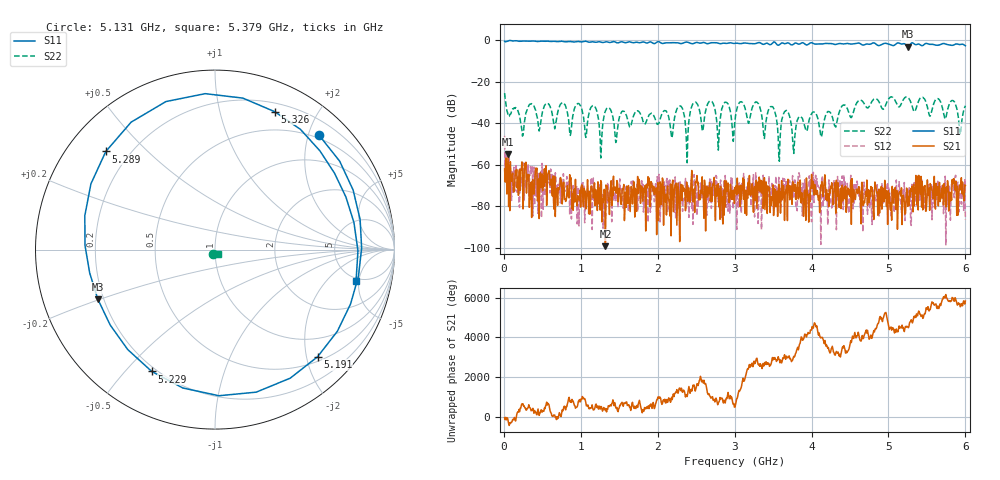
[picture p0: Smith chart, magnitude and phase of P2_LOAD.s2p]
!Keysight Technologies,N5245B,MY52501319,Z.13.01.242
!Date: Monday, February 16, 2026 14:44:21
!Correction: S11(Off)
!S21(Off)
!S12(Off)
!S22(Off)
!S2P File: Measurements: S11, S21, S12, S22:
# Hz S  RI  R 50
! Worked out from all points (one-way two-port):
!   801 points, 10 MHz to 6 GHz, reference 50 ohm
!   highest |S21| = -54.91 dB at 54.92 MHz (marker M1); lowest = -99.4 dB at 1.32 GHz (marker M2)
!   lowest |S11| = -3.0 dB at 5.251 GHz (marker M3), VSWR 5.87, Z = 8.86 - j9.87 ohm
!   |S11| at or under -10 dB: nowhere
!   |S22| runs from -59.1 to -25.5 dB; largest |S21 - S12| = 0.0057
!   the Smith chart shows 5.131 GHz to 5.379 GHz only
!   S11 on the Smith chart (normalised r, x): 5.131 GHz: 0.44, +2.17; 5.191 GHz: 0.59, -2.21; 5.229 GHz: 0.18, -0.59; 5.289 GHz: 0.11, +0.38; 5.326 GHz: 0.29, +1.48; 5.379 GHz: 4.55, -4.58
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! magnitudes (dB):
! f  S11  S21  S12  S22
! 10 MHz  -0.4  -62.2  -46.1  -25.5
! 54.92 MHz  -0.4  -54.9  -68.0  -36.1
! 1.013 GHz  -0.8  -69.8  -69.0  -33.2
! 1.26 GHz  -0.8  -67.7  -75.4  -56.8
! 1.32 GHz  -0.8  -99.4  -92.3  -34.1
! 2.009 GHz  -0.6  -87.0  -72.7  -40.3
! 2.294 GHz  -1.6  -73.3  -68.3  -31.6
! 2.384 GHz  -0.9  -70.8  -69.0  -59.1
! 2.683 GHz  -1.3  -77.6  -68.2  -29.2
! 3.005 GHz  -1.5  -71.0  -72.2  -38.6
! 3.282 GHz  -1.5  -67.5  -75.1  -29.8
! 3.769 GHz  -1.8  -69.7  -75.7  -54.6
! 4.008 GHz  -1.2  -71.4  -76.4  -35.0
! 5.004 GHz  -1.9  -78.3  -70.7  -28.2
! 5.131 GHz  -1.3  -74.4  -77.4  -32.1
! 5.191 GHz  -1.7  -74.7  -72.1  -28.8
! 5.229 GHz  -2.3  -78.0  -73.5  -27.4
! 5.251 GHz  -3.0  -80.1  -72.8  -27.6
! 5.289 GHz  -1.7  -71.6  -88.3  -29.8
! 5.326 GHz  -1.5  -69.6  -76.8  -33.9
! 5.379 GHz  -1.9  -65.6  -68.0  -30.6
! 6 GHz  -2.6  -70.0  -86.7  -31.6
